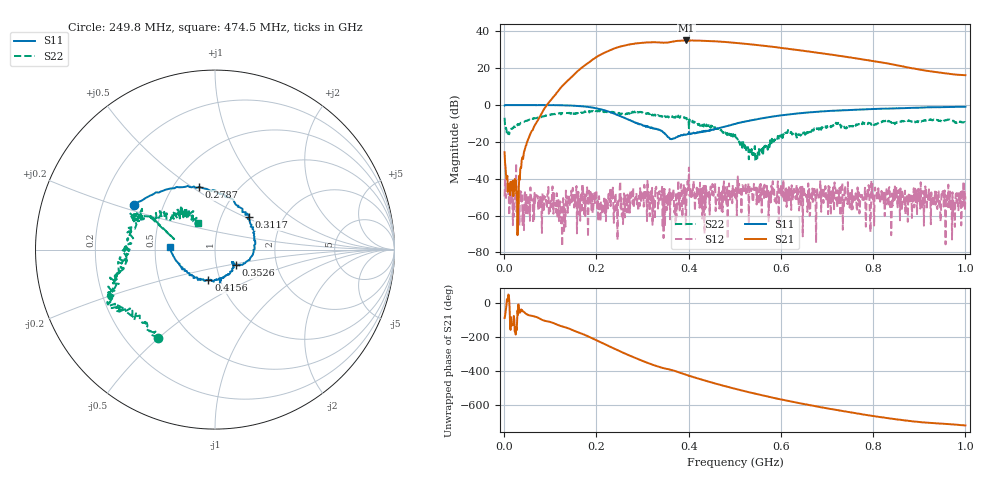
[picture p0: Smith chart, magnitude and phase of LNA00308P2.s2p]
! Created with skrf 1.9.0 (http://scikit-rf.org).
# Hz S RI R 50.0
!freq ReS11 ImS11 ReS21 ImS21 ReS12 ImS12 ReS22 ImS22
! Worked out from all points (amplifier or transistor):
!   1001 points, 1 MHz to 1 GHz, reference 50 ohm
!   highest |S21| = 35.1 dB at 394.6 MHz (marker M1)
!   |S21| within 3 dB of that: 256.9 MHz to 566.3 MHz (309.5 MHz wide, 75.2 % of centre) (the widest 1 of 2)
!   unconditionally stable (mu >= 1): start of sweep to 74.78 MHz; 310.9 MHz to 377.5 MHz; 400.9 MHz to end of sweep (the widest 3 of 29)
!   at 166.8 MHz: K = 1.33, MAG = 30.3 dB, |S12| = -47.6 dB
!   at 500.5 MHz: K = 2.08, MAG = 34.4 dB, |S12| = -46.8 dB
!   at 1 GHz: K = 3.88, MAG = 24.1 dB, |S12| = -49.6 dB
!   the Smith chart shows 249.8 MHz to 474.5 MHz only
!   S11 on the Smith chart (normalised r, x): 249.8 MHz: 0.34, +0.23; 278.7 MHz: 0.67, +0.54; 311.7 MHz: 1.35, +0.53; 352.6 MHz: 1.25, -0.22; 415.6 MHz: 0.88, -0.31; 474.5 MHz: 0.60, +0.02
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1000000  0.9739 0.00577  0.00382 -0.0522  -0.00033 -0.00327  0.3283 0.3082
1.08892e8  0.5053 -0.8538  -0.8384 -1.578  -0.00195 0.00144  0.4251 -0.3668
1.67833e8  -0.2639 -0.8856  -10.23 -0.4526  0.00093 -0.00075  0.0386 -0.6195
2.11789e8  -0.69 -0.3079  -15.17 18.9  0.000248 0.00108  -0.1966 -0.6564
2.29771e8  -0.6396 -0.0114  -8.271 29.81  6.73e-05 -0.00498  -0.2524 -0.6093
2.49751e8  -0.4493 0.2506  6.662 37.41  -0.00153 0.0018  -0.3156 -0.4899
2.78722e8  -0.0875 0.349  31.9 32.41  0.00025 0.00205  -0.5761 -0.3258
3.11689e8  0.1903 0.1816  49.13 8.527  -0.000463 0.00479  -0.5602 -0.1758
3.34666e8  0.2157 -0.0107  49.04 -11.09  -0.00115 0.00151  -0.5195 -0.06
3.52648e8  0.1176 -0.0861  44.92 -21  0.000184 0.00139  -0.4852 0.0594
3.71629e8  0.1026 -0.0793  42.37 -34.06  -0.000147 0.000544  -0.4282 0.1593
3.94606e8  0.0583 -0.1457  28.32 -49.08  -0.000501 0.000827  -0.4143 0.1667
4.15585e8  -0.0363 -0.1714  12.03 -55.03  0.0012 0.00282  -0.2721 0.2001
4.43557e8  -0.1579 -0.119  -9.793 -53.77  0.00247 -0.00141  -0.1629 0.2329
4.74526e8  -0.2508 0.0122  -29 -43.18  0.00608 0.000165  -0.0934 0.1505
5.005e8  -0.2657 0.1486  -39.07 -30.13  -0.00412 0.00197  -0.0738 0.1511
5.39461e8  -0.1849 0.3481  -42.88 -8.819  0.00232 0.000103  -0.0478 0.00999
5.88412e8  0.0295 0.4976  -35.34 11.79  0.000524 -0.00328  -0.1008 -0.0668
6.67333e8  0.4067 0.4931  -13.18 24.04  0.00156 -0.00224  -0.1954 -0.0477
7.53247e8  0.6818 0.2791  4.05 18.85  -0.00142 -0.000336  -0.2626 0.0128
8.34166e8  0.8002 0.0202  9.538 9.203  -0.00539 -0.000939  -0.366 0.0516
1e9  0.7348 -0.5199  6.448 0.2159  -0.00289 0.00159  -0.1658 0.2805
